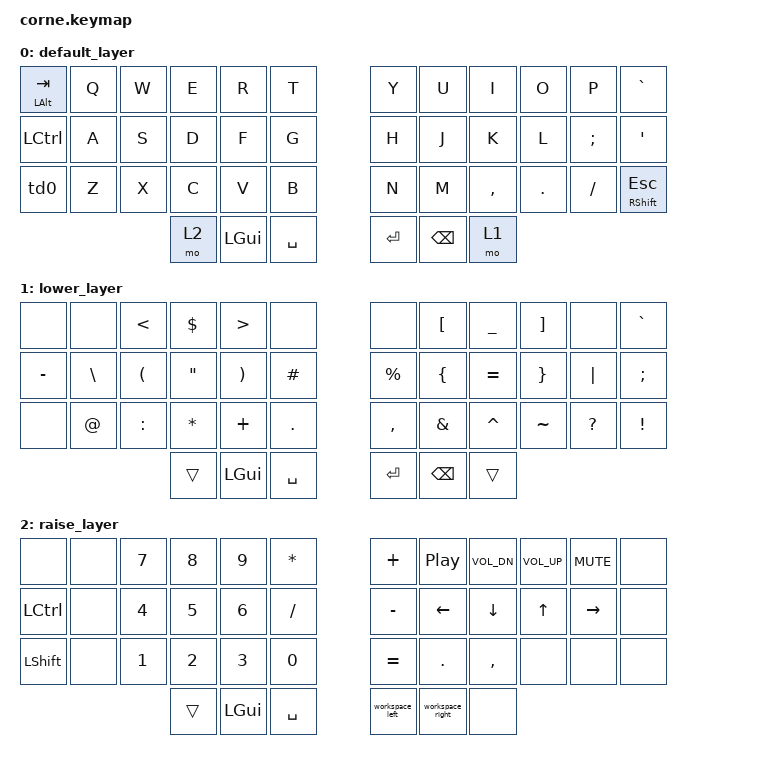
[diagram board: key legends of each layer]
/*
 * Copyright (c) 2020 The ZMK Contributors
 *
 * SPDX-License-Identifier: MIT
 */

#include <behaviors.dtsi>
#include <dt-bindings/zmk/keys.h>

#define BASE 0
#define SYMBOLS 1      // lower_layer
#define NAVIGATION 2   // raise_layer

/ {
    behaviors {
        td0: shift_caps_tapdance {
            compatible = "zmk,behavior-tap-dance";
            label = "TAP_DANCE_SHIFT_CAPS";
            #binding-cells = <0>;
            tapping-term-ms = <200>;
            bindings =
                <&kp LSHFT>,
                <&kp CAPS>;
        };
    };

    macros {
        workspace_left: workspace_left {
            label = "ZM_MAC_OS_WORKSPACE_LEFT";
            compatible = "zmk,behavior-macro";
            #binding-cells = <0>;
            wait-ms = <40>;
            tap-ms = <40>;
            bindings =
                <&macro_press>,
                <&kp LCTRL>,
                <&macro_tap>,
                <&kp LEFT>,
                <&macro_release>,
                <&kp LCTRL>;
        };
        workspace_right: workspace_right {
            label = "ZM_MAC_OS_WORKSPACE_RIGHT";
            compatible = "zmk,behavior-macro";
            #binding-cells = <0>;
            wait-ms = <40>;
            tap-ms = <40>;
            bindings =
                <&macro_press>,
                <&kp LCTRL>,
                <&macro_tap>,
                <&kp RIGHT>,
                <&macro_release>,
                <&kp LCTRL>;
        };
    };

    keymap {
        compatible = "zmk,keymap";

        default_layer {
            // -----------------------------------------------------------------------------------------
            // | TAB(tap)/Alt(hold) |  Q  |  W  |  E  |  R  |  T  |   |  Y  |  U   |  I  |  O  |  P  |          `            |
            // | CTRL               |  A  |  S  |  D  |  F  |  G  |   |  H  |  J   |  K  |  L  |  ;  |          '            |
            // | SHFT/CAPS TAPDANCE |  Z  |  X  |  C  |  V  |  B  |   |  N  |  M   |  ,  |  .  |  /  | ESC(tap)/Shift)(hold) |
            //                                 | GUI | NAV | SPC |   | ENT | SYMB  | BS |

            bindings = <
 &mt LALT TAB   &kp Q   &kp W   &kp E         &kp R      &kp T    &kp Y          &kp U      &kp I    &kp O     &kp P       &kp GRAVE
    &kp LCTRL   &kp A   &kp S   &kp D         &kp F      &kp G    &kp H          &kp J      &kp K    &kp L  &kp SEMI         &kp SQT
         &td0   &kp Z   &kp X   &kp C         &kp V      &kp B    &kp N          &kp M  &kp COMMA  &kp DOT  &kp FSLH  &mt RSHIFT ESC
                                &mo 2  &kp LEFT_GUI  &kp SPACE  &kp RET  &kp BACKSPACE      &mo 1
            >;
        };

        lower_layer {
            // ------------------------------------------------------------------------------------------------------------------------------------------
            // |          |           |  <       |  $       |  >        |         |   |          |   [      |    _      |    ]     |         |    `     |
            // |   -      |  \        |  (       |  "       |  )        |  #      |   |    %     |   {      |    =      |    }     |   "|"   |    ;     |
            // |          |           |  :       |  *       |  +        |  .      |   |    ,     |   &      |    ^      |    ~     |    ?    |    !     |
            //                                          |  GUI   |      | SPC     |   | ENT      |          |   BS    |

            bindings = <
     &none        &none     &kp LT  &kp DLLR    &kp GT       &none       &none       &kp LBKT  &kp UNDER         &kp RBKT         &none        &kp GRAVE
 &kp MINUS     &kp BSLH   &kp LPAR   &kp DQT  &kp RPAR   &kp POUND   &kp PRCNT       &kp LBRC  &kp EQUAL  &kp RIGHT_BRACE      &kp PIPE         &kp SEMI
     &none  &kp AT_SIGN  &kp COLON  &kp STAR  &kp PLUS  &kp PERIOD   &kp COMMA       &kp AMPS  &kp CARET        &kp TILDE  &kp QUESTION  &kp EXCLAMATION
                                      &trans  &kp LGUI   &kp SPACE  &kp RETURN  &kp BACKSPACE     &trans
            >;
        };

        raise_layer {
            // -----------------------------------------------------------------------------------------
            // |       |     |  7  |  8  |  9  |  *  |   |  +  | PL/PAU | VDN | VUP | MUT |      |
            // | LCTRL |     |  4  |  5  |  6  |  /  |   |  -  |  LFT   | DWN |  UP | RGT |      |
            // | LSHFT |     |  1  |  2  |  3  |  0  |   |  =  |   .    |  ,  |     |     |      |
            //                 |  GUI  |     | SPC   |   | WS_LEFT |  WS_RIGHT    |     |

            bindings = <
     &none   &none  &kp N7  &kp N8    &kp N9   &kp STAR         &kp PLUS          &kp C_PP  &kp C_VOL_DN  &kp C_VOL_UP  &kp C_MUTE   &none
 &kp LCTRL   &none  &kp N4  &kp N5    &kp N6   &kp FSLH        &kp MINUS          &kp LEFT      &kp DOWN        &kp UP   &kp RIGHT   &none
 &kp LSHFT   &none  &kp N1  &kp N2    &kp N3     &kp N0        &kp EQUAL           &kp DOT     &kp COMMA         &none       &none   &none
                            &trans  &kp LGUI  &kp SPACE  &workspace_left  &workspace_right         &none
            >;
        };
    };
};
